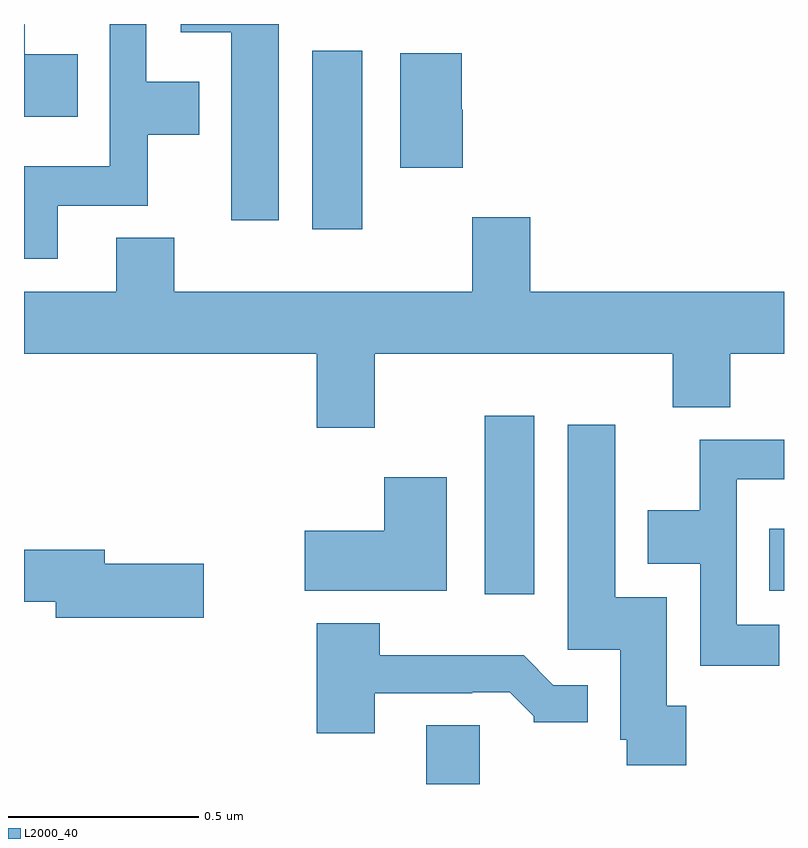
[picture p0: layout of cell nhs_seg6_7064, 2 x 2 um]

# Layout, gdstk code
import gdstk
lib = gdstk.Library(unit=1e-6, precision=1e-09)
def R(c, l, rs):  # rectangles x0, y0, x1, y1
    for r in rs: c.add(gdstk.rectangle(r[:2], r[2:], *l))
def P(c, l, *ps):  # polygons
    for p in ps: c.add(gdstk.Polygon(p, *l))
L2000_40 = (2000, 40)

nhs_seg6_7064 = lib.new_cell('nhs_seg6_7064')
R(nhs_seg6_7064, L2000_40, [(204.059,983.5,204.199,983.654), (204.212,984,204.343,984.469), (204.961,984.008,205,984.172), (203.759,984.96,203.89,985.429)])
P(nhs_seg6_7064, L2000_40, [(203.671,985.5),(203.412,985.5),(203.412,985.478),(203.546,985.478),(203.546,984.984),(203.671,984.984)],
  [(203.089,985.022),(203.325,985.022),(203.325,985.208),(203.461,985.208),(203.461,985.348),(203.322,985.348),(203.322,985.5),(203.226,985.5),(203.226,985.126),(203,985.126),(203,984.882),(203.089,984.882)],
  [(203.141,985.42),(203.002,985.42),(203.002,985.5),(203,985.5),(203,985.256),(203.141,985.256)],
  [(204.154,985.275),(204.152,985.275),(204.152,985.423),(203.99,985.423),(203.99,985.122),(204.154,985.122)],
  [(203.923,984.632),(204.707,984.632),(204.707,984.491),(204.859,984.491),(204.859,984.632),(205,984.632),(205,984.796),(204.332,984.796),(204.332,984.991),(204.179,984.991),(204.179,984.796),(203.396,984.796),(203.396,984.937),(203.243,984.937),(203.243,984.796),(203,984.796),(203,984.632),(203.771,984.632),(203.771,984.438),(203.923,984.438)],
  [(204.743,983.706),(204.691,983.706),(204.691,983.992),(204.556,983.992),(204.556,984.445),(204.431,984.445),(204.431,983.853),(204.569,983.853),(204.569,983.616),(204.586,983.616),(204.586,983.55),(204.743,983.55)],
  [(204.988,983.919),(204.876,983.919),(204.876,984.302),(205,984.302),(205,984.406),(204.778,984.406),(204.778,984.22),(204.641,984.22),(204.641,984.08),(204.78,984.08),(204.78,983.811),(204.988,983.811)],
  [(204.112,984.307),(203.948,984.307),(203.948,984.166),(203.739,984.166),(203.739,984.008),(204.112,984.008)],
  [(203.473,984.08),(203.212,984.08),(203.212,984.116),(203,984.116),(203,983.98),(203.084,983.98),(203.084,983.938),(203.473,983.938)],
  [(203.923,983.739),(204.179,983.739),(204.179,983.742),(204.278,983.742),(204.342,983.678),(204.342,983.663),(204.484,983.663),(204.484,983.76),(204.393,983.76),(204.315,983.839),(203.936,983.839),(203.936,983.923),(203.771,983.923),(203.771,983.634),(203.923,983.634)])

lib.write_gds('nhs_seg6_7064.gds')
